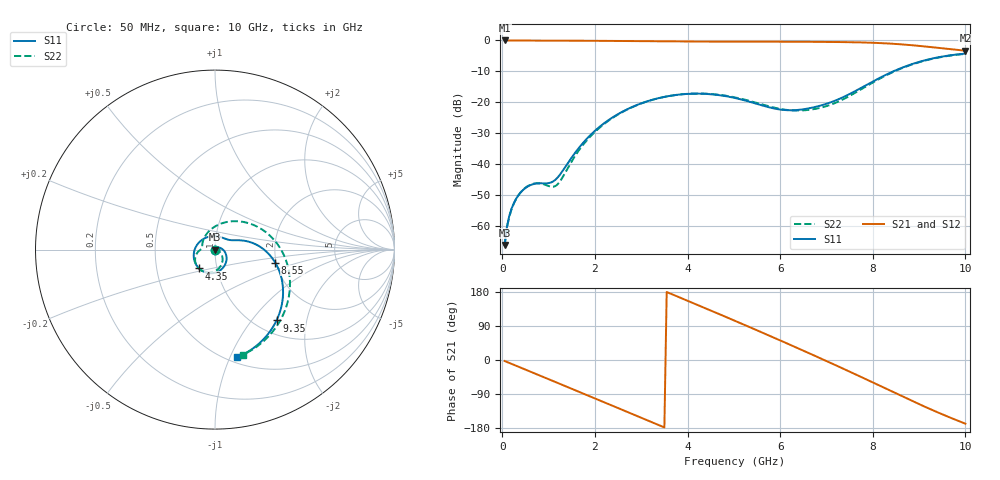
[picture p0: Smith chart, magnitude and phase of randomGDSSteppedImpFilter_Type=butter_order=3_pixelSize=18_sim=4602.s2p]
! freq	dB(S11)	phase(S11)	dB(S12)	phase(S12)
!  dB(S21)	phase(S21)	dB(S22)	phase(S22)
!S-par simulation data
#  GHz  S  DB  R 50
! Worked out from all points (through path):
!   200 points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, 50 MHz to 10 GHz, reference 50 ohm
!   highest |S21| = -0.01 dB at 50 MHz (marker M1); lowest = -3.3 dB at 10 GHz (marker M2)
!   group delay of S21, straight-line fit = 147 ps
!   lowest |S11| = -66.0 dB at 50 MHz (marker M3), VSWR 1.00, Z = 50 - j0.0496 ohm
!   |S11| at or under -10 dB: start of sweep to 8.441 GHz
!   |S22| runs from -66.4 to -4.3 dB; largest |S21 - S12| = 0
!   S11 on the Smith chart (normalised r, x): 50 MHz: 1.00, -0.00; 4.35 GHz: 0.82, -0.18; 8.55 GHz: 1.97, -0.32; 9.35 GHz: 1.24, -1.34; 10 GHz: 0.55, -1.06
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0.05  -66.04 -84.5  -0.01 -2.6  -0.01 -2.6  -66.44 -81.9
0.15  -56.72 -98.0  -0.02 -7.7  -0.02 -7.7  -56.99 -91.1
0.4  -49.02 -119.8  -0.03 -20.3  -0.03 -20.3  -48.99 -98.0
0.7  -46.29 -150.2  -0.04 -35.5  -0.04 -35.5  -46.17 -101.4
1.15  -44.95 123.9  -0.07 -58.2  -0.07 -58.2  -47.01 -63.2
1.75  -32.97 32.4  -0.10 -88.6  -0.10 -88.6  -33.60 -22.7
2.5  -23.78 -21.6  -0.17 -126.8  -0.17 -126.8  -23.92 -48.6
2.95  -20.59 -48.8  -0.22 -149.8  -0.22 -149.8  -20.65 -68.2
3.4  -18.54 -74.9  -0.28 -172.9  -0.28 -172.9  -18.56 -88.3
3.85  -17.44 -100.8  -0.33 164.1  -0.33 164.1  -17.42 -108.4
4.35  -17.23 -130.1  -0.37 138.4  -0.37 138.4  -17.16 -130.1
5.05  -18.67 -175.0  -0.39 102.1  -0.39 102.1  -18.47 -157.5
5.8  -21.73 123.7  -0.40 62.4  -0.40 62.4  -21.44 -177.6
6.3  -22.53 76.5  -0.42 35.5  -0.42 35.5  -22.62 172.8
6.7  -21.68 47.8  -0.45 13.8  -0.45 13.8  -22.25 156.5
7.05  -20.21 33.2  -0.48 -5.5  -0.48 -5.5  -20.98 131.6
7.45  -17.68 23.6  -0.55 -27.8  -0.55 -27.8  -18.32 95.7
7.95  -13.67 10.9  -0.73 -56.3  -0.73 -56.3  -14.01 52.6
8.35  -10.62 -3.7  -1.00 -79.5  -1.00 -79.5  -10.82 22.4
8.55  -9.30 -12.1  -1.19 -91.0  -1.19 -91.0  -9.46 8.5
9.35  -5.64 -49.0  -2.30 -135.4  -2.30 -135.4  -5.74 -41.0
10  -4.26 -78.5  -3.32 -168.1  -3.32 -168.1  -4.35 -75.2
